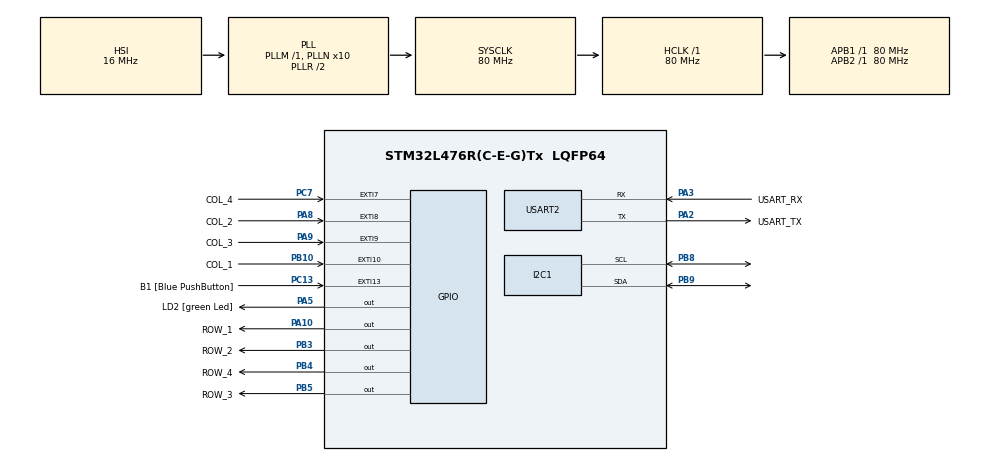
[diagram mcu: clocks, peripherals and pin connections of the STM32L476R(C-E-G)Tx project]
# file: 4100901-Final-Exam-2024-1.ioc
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I2C1.Timing=0x10909CEC
Mcu.Family=STM32L4
Mcu.Name=STM32L476R(C-E-G)Tx
Mcu.Package=LQFP64
NVIC.EXTI15_10_IRQn=true\:0\:0\:false\:false\:true\:true\:true\:true
NVIC.EXTI9_5_IRQn=true\:0\:0\:false\:false\:true\:true\:true\:true
NVIC.PriorityGroup=NVIC_PRIORITYGROUP_4
NVIC.USART2_IRQn=true\:0\:0\:false\:false\:true\:true\:true\:true
PA10.GPIO_Label=ROW_1
PA10.PinState=GPIO_PIN_SET
PA10.Signal=GPIO_Output
PA13\ (JTMS-SWDIO).GPIO_Label=TMS
PA13\ (JTMS-SWDIO).Mode=Serial_Wire
PA13\ (JTMS-SWDIO).Signal=SYS_JTMS-SWDIO
PA14\ (JTCK-SWCLK).GPIO_Label=TCK
PA14\ (JTCK-SWCLK).Mode=Serial_Wire
PA14\ (JTCK-SWCLK).Signal=SYS_JTCK-SWCLK
PA2.GPIO_Label=USART_TX
PA2.GPIO_Mode=GPIO_MODE_AF_PP
PA2.GPIO_PuPd=GPIO_NOPULL
PA2.GPIO_Speed=GPIO_SPEED_FREQ_VERY_HIGH
PA2.Mode=Asynchronous
PA2.Signal=USART2_TX
PA3.GPIO_Label=USART_RX
PA3.GPIO_Mode=GPIO_MODE_AF_PP
PA3.GPIO_PuPd=GPIO_NOPULL
PA3.GPIO_Speed=GPIO_SPEED_FREQ_VERY_HIGH
PA3.Mode=Asynchronous
PA3.Signal=USART2_RX
PA5.GPIO_Label=LD2 [green Led]
PA5.GPIO_ModeDefaultOutputPP=GPIO_MODE_OUTPUT_PP
PA5.GPIO_PuPd=GPIO_NOPULL
PA5.GPIO_Speed=GPIO_SPEED_FREQ_LOW
PA5.Signal=GPIO_Output
PA8.GPIO_Label=COL_2
PA8.GPIO_PuPd=GPIO_PULLDOWN
PA8.Signal=GPXTI8
PA9.GPIO_Label=COL_3
PA9.GPIO_PuPd=GPIO_PULLDOWN
PA9.Signal=GPXTI9
PB10.GPIO_Label=COL_1
PB10.GPIO_PuPd=GPIO_PULLDOWN
PB10.Signal=GPXTI10
PB3\ (JTDO-TRACESWO).GPIO_Label=ROW_2
PB3\ (JTDO-TRACESWO).PinState=GPIO_PIN_SET
PB3\ (JTDO-TRACESWO).Signal=GPIO_Output
PB4\ (NJTRST).GPIO_Label=ROW_4
PB4\ (NJTRST).PinState=GPIO_PIN_SET
PB4\ (NJTRST).Signal=GPIO_Output
PB5.GPIO_Label=ROW_3
PB5.PinState=GPIO_PIN_SET
PB5.Signal=GPIO_Output
PB8.Mode=I2C
PB8.Signal=I2C1_SCL
PB9.Mode=I2C
PB9.Signal=I2C1_SDA
PC13.GPIO_Label=B1 [Blue PushButton]
PC13.GPIO_ModeDefaultEXTI=GPIO_MODE_IT_FALLING
PC13.GPIO_PuPd=GPIO_NOPULL
PC13.Signal=GPXTI13
PC14-OSC32_IN\ (PC14).Mode=LSE-External-Oscillator
PC14-OSC32_IN\ (PC14).Signal=RCC_OSC32_IN
PC15-OSC32_OUT\ (PC15).Mode=LSE-External-Oscillator
PC15-OSC32_OUT\ (PC15).Signal=RCC_OSC32_OUT
PC7.GPIO_Label=COL_4
PC7.GPIO_PuPd=GPIO_PULLDOWN
PC7.Signal=GPXTI7
PH0-OSC_IN\ (PH0).Signal=RCC_OSC_IN
PH1-OSC_OUT\ (PH1).Signal=RCC_OSC_OUT
ProjectManager.HeapSize=0x200
ProjectManager.StackSize=0x400
ProjectManager.TargetToolchain=STM32CubeIDE
RCC.ADCFreq_Value=64000000
RCC.AHBFreq_Value=80000000
RCC.APB1Freq_Value=80000000
RCC.APB1TimFreq_Value=80000000
RCC.APB2Freq_Value=80000000
RCC.APB2TimFreq_Value=80000000
RCC.CortexFreq_Value=80000000
RCC.HCLKFreq_Value=80000000
RCC.HSE_VALUE=8000000
RCC.HSI_VALUE=16000000
RCC.MSI_VALUE=4000000
RCC.PLLN=10
RCC.PLLSourceVirtual=RCC_PLLSOURCE_HSI
RCC.PREFETCH_ENABLE=1
RCC.SYSCLKFreq_VALUE=80000000
RCC.SYSCLKSource=RCC_SYSCLKSOURCE_PLLCLK
RCC.USBFreq_Value=64000000
RCC.VCOOutputFreq_Value=160000000
USART2.VirtualMode-Asynchronous=VM_ASYNC
board=NUCLEO-L476RG

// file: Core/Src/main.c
/* USER CODE BEGIN Header */
/**
  **************************
  * @file           : main.c
  * @brief          : Main program body
  **************************
  * @attention
  *
  * Copyright (c) 2024 STMicroelectronics.
  * All rights reserved.
  *
  * This software is licensed under terms that can be found in the LICENSE file
  * in the root directory of this software component.
  * If no LICENSE file comes with this software, it is provided AS-IS.
  *
  **************************
  */
/* USER CODE END Header */
#include "main.h"

/* USER CODE BEGIN Includes */
#include <stdio.h>
#include <string.h>

#include "ssd1306.h"
#include "ssd1306_fonts.h"

#include "ring_buffer.h"
#include "keypad.h"
/* USER CODE END Includes */

#define KEYPAD_RB_LEN 4
#define USART2_RB_LEN 6
#define DISPLAY_BUFFER_SIZE 5  // Buffer para 4 dígitos + terminador
#define MAX_DIGITS 4           // Límite de dígitos
#define MAX_USART_DIGITS 6      // Límite de dígitos por USART2
/* USER CODE END PD */

I2C_HandleTypeDef hi2c1;
UART_HandleTypeDef huart2;

/* USER CODE BEGIN PV */
uint8_t keypad_data = 0xFF;
uint8_t keypad_buffer[KEYPAD_RB_LEN];
ring_buffer_t keypad_rb;

uint8_t usart2_data = 0xFF;
uint8_t usart2_buffer[USART2_RB_LEN];
ring_buffer_t usart2_rb;

char uart_num[7];
char display_buffer[DISPLAY_BUFFER_SIZE];  // Buffer de visualización para Keypad
char usart_display_buffer[MAX_USART_DIGITS + 1]; // Buffer de visualización para USART2
uint8_t display_index = 0;  // Índice para el buffer de teclado
uint8_t usart_display_index = 0;  // Índice para el buffer de USART2
volatile int count_uart = 0;
// Flag para operaciones
volatile uint8_t flag_sum = 0;
/* USER CODE END PV */

void SystemClock_Config(void);
static void MX_GPIO_Init(void);
static void MX_USART2_UART_Init(void);
static void MX_I2C1_Init(void);

/* USER CODE BEGIN 0 */
int _write(int file, char *ptr, int len)
{
    HAL_UART_Transmit(&huart2, (uint8_t *)ptr, len, 10);
    return len;
}

void Update_Display()
{
    ssd1306_Fill(Black);  // Limpia la pantalla

    // Mostrar los últimos dos dígitos del Keypad
    ssd1306_SetCursor(0, 0);
    ssd1306_WriteString("Keypad: ", Font_7x10, White);
    if (display_index >= 2) {
        ssd1306_WriteString(&display_buffer[display_index - 2], Font_7x10, White);
    } else {
        ssd1306_WriteString(display_buffer, Font_7x10, White);
    }

    // Mostrar los últimos dos dígitos del USART2
    ssd1306_SetCursor(0, 15);  // Ajustar la posición para no sobreponer
    ssd1306_WriteString("USART2: ", Font_7x10, White);
    if (usart_display_index >= 2) {
        ssd1306_WriteString(&usart_display_buffer[usart_display_index - 2], Font_7x10, White);
    } else {
        ssd1306_WriteString(usart_display_buffer, Font_7x10, White);
    }

    // Mostrar el resultado de la suma
    ssd1306_SetCursor(0, 30);
    ssd1306_WriteString("Suma: ", Font_7x10, White);
    ssd1306_WriteString(uart_num, Font_7x10, White);

    ssd1306_UpdateScreen();  // Actualizar la pantalla
}

void HAL_UART_RxCpltCallback(UART_HandleTypeDef *huart)
{
    if (huart->Instance == USART2) {
        if (usart2_data >= '0' && usart2_data <= '9') {
            // Almacenar el dígito recibido y actualizar la pantalla
            if (usart_display_index < MAX_USART_DIGITS) {
                usart_display_buffer[usart_display_index++] = usart2_data;
                usart_display_buffer[usart_display_index] = '\0';  // Asegurar que es una cadena válida
                Update_Display();
                printf("USART2: %s\r\n", usart_display_buffer);
            } else {
                strcpy(usart_display_buffer, "Error");
                Update_Display();
                printf("USART2 Error\r\n");
            }
        }
        HAL_UART_Receive_IT(&huart2, &usart2_data, 1);
    }
}

void HAL_GPIO_EXTI_Callback(uint16_t GPIO_Pin)
{
    if (GPIO_Pin == B1_Pin) {
        flag_sum = 1;
    }

    uint8_t key_pressed = keypad_scan(GPIO_Pin);
    if (key_pressed != 0xFF) {
        printf("Tecla presionada: %c\r\n", key_pressed);
        if (key_pressed != '#' && key_pressed != '*') {
            if (display_index < MAX_DIGITS) {
                display_buffer[display_index++] = key_pressed;
                display_buffer[display_index] = '\0';  // Asegurarse de que sea una cadena válida
                Update_Display();  // Actualizar la pantalla
                printf("Pantalla actualizada: %s\r\n", display_buffer);
            } else {
                strcpy(display_buffer, "Error");
                Update_Display();
                printf("Keypad Error\r\n");
            }
        } else if (key_pressed == '#') {
            // Reiniciar buffer USART2
            usart_display_index = 0;
            memset(usart_display_buffer, 0, sizeof(usart_display_buffer));
            Update_Display();
            printf("Buffer USART2 reiniciado\r\n");
        } else if (key_pressed == '*') {
            // Reiniciar solo el buffer del teclado
            display_index = 0;
            memset(display_buffer, 0, DISPLAY_BUFFER_SIZE);
            Update_Display();
            printf("Buffer del Keypad reiniciados\r\n");
        }
    }
}

/* USER CODE END 0 */

int main(void)
{

  /* MCU Configuration--------------------------------------------------------*/

  /* Reset of all peripherals, Initializes the Flash interface and the Systick. */
  HAL_Init();

  /* Configure the system clock */
  SystemClock_Config();

  /* Initialize all configured peripherals */
  MX_GPIO_Init();
  MX_USART2_UART_Init();
  MX_I2C1_Init();
  /* USER CODE BEGIN 2 */
    ssd1306_Init();  // Inicializar la pantalla OLED
    ssd1306_Fill(Black);
    ssd1306_SetCursor(20, 20);
    ssd1306_WriteString("Welcome!", Font_7x10, White);  // Mostrar mensaje de bienvenida
    ssd1306_UpdateScreen();

    HAL_UART_Receive_IT(&huart2, &usart2_data, 1);  // Iniciar recepción por UART

    ring_buffer_init(&usart2_rb, usart2_buffer, USART2_RB_LEN); // buffer para uart

  /* USER CODE END 2 */

  /* Infinite loop */
  /* USER CODE BEGIN WHILE */
    printf("Starting...\r\n");
    while (1)
    {
        // Bucle principal
        if (flag_sum!=0)
        {
            int sum = 0;
            // verfica si hay datos en el buffer de uart y teclado
            if (display_index > 0 && usart_display_index > 0)
            {
                // Convertir los datos a enteros
                int num1 = atoi(display_buffer);
                int num2 = atoi(usart_display_buffer);
                sum = num1 + num2;
                printf("Suma: %d\r\n", sum);
                sprintf(uart_num, "%d", sum);
                HAL_UART_Transmit(&huart2, (uint8_t *)uart_num, strlen(uart_num), 1000);
                HAL_UART_Transmit(&huart2, (uint8_t *)"\r\n", 2, 1000);
                flag_sum = 0;
                // prender el led si el resultado es par
				if (sum % 2 == 0)
				{
					HAL_GPIO_WritePin(LD2_GPIO_Port, LD2_Pin, GPIO_PIN_SET);
				}
				else
				{
					HAL_GPIO_WritePin(LD2_GPIO_Port, LD2_Pin, GPIO_PIN_RESET);
				}
            }
            else
            {
                printf("Error: No hay datos suficientes\r\n");
            }
        }
    }
    /* USER CODE END WHILE */

}

void SystemClock_Config(void)
{
  RCC_OscInitTypeDef RCC_OscInitStruct = {0};
  RCC_ClkInitTypeDef RCC_ClkInitStruct = {0};

  /** Configure the main internal regulator output voltage
  */
  if (HAL_PWREx_ControlVoltageScaling(PWR_REGULATOR_VOLTAGE_SCALE1) != HAL_OK)
  {
    Error_Handler();
  }

  /** Initializes the RCC Oscillators according to the specified parameters
  * in the RCC_OscInitTypeDef structure.
  */
  RCC_OscInitStruct.OscillatorType = RCC_OSCILLATORTYPE_HSI;
  RCC_OscInitStruct.HSIState = RCC_HSI_ON;
  RCC_OscInitStruct.HSICalibrationValue = RCC_HSICALIBRATION_DEFAULT;
  RCC_OscInitStruct.PLL.PLLState = RCC_PLL_ON;
  RCC_OscInitStruct.PLL.PLLSource = RCC_PLLSOURCE_HSI;
  RCC_OscInitStruct.PLL.PLLM = 1;
  RCC_OscInitStruct.PLL.PLLN = 10;
  RCC_OscInitStruct.PLL.PLLP = RCC_PLLP_DIV7;
  RCC_OscInitStruct.PLL.PLLQ = RCC_PLLQ_DIV2;
  RCC_OscInitStruct.PLL.PLLR = RCC_PLLR_DIV2;
  if (HAL_RCC_OscConfig(&RCC_OscInitStruct) != HAL_OK)
  {
    Error_Handler();
  }

  /** Initializes the CPU, AHB and APB buses clocks
  */
  RCC_ClkInitStruct.ClockType = RCC_CLOCKTYPE_HCLK|RCC_CLOCKTYPE_SYSCLK
                              |RCC_CLOCKTYPE_PCLK1|RCC_CLOCKTYPE_PCLK2;
  RCC_ClkInitStruct.SYSCLKSource = RCC_SYSCLKSOURCE_PLLCLK;
  RCC_ClkInitStruct.AHBCLKDivider = RCC_SYSCLK_DIV1;
  RCC_ClkInitStruct.APB1CLKDivider = RCC_HCLK_DIV1;
  RCC_ClkInitStruct.APB2CLKDivider = RCC_HCLK_DIV1;

  if (HAL_RCC_ClockConfig(&RCC_ClkInitStruct, FLASH_LATENCY_4) != HAL_OK)
  {
    Error_Handler();
  }
}

static void MX_I2C1_Init(void)
{

  hi2c1.Instance = I2C1;
  hi2c1.Init.Timing = 0x10909CEC;
  hi2c1.Init.OwnAddress1 = 0;
  hi2c1.Init.AddressingMode = I2C_ADDRESSINGMODE_7BIT;
  hi2c1.Init.DualAddressMode = I2C_DUALADDRESS_DISABLE;
  hi2c1.Init.OwnAddress2 = 0;
  hi2c1.Init.OwnAddress2Masks = I2C_OA2_NOMASK;
  hi2c1.Init.GeneralCallMode = I2C_GENERALCALL_DISABLE;
  hi2c1.Init.NoStretchMode = I2C_NOSTRETCH_DISABLE;
  if (HAL_I2C_Init(&hi2c1) != HAL_OK)
  {
    Error_Handler();
  }

  /** Configure Analogue filter
  */
  if (HAL_I2CEx_ConfigAnalogFilter(&hi2c1, I2C_ANALOGFILTER_ENABLE) != HAL_OK)
  {
    Error_Handler();
  }

  /** Configure Digital filter
  */
  if (HAL_I2CEx_ConfigDigitalFilter(&hi2c1, 0) != HAL_OK)
  {
    Error_Handler();
  }

}

static void MX_USART2_UART_Init(void)
{

  huart2.Instance = USART2;
  huart2.Init.BaudRate = 115200;
  huart2.Init.WordLength = UART_WORDLENGTH_8B;
  huart2.Init.StopBits = UART_STOPBITS_1;
  huart2.Init.Parity = UART_PARITY_NONE;
  huart2.Init.Mode = UART_MODE_TX_RX;
  huart2.Init.HwFlowCtl = UART_HWCONTROL_NONE;
  huart2.Init.OverSampling = UART_OVERSAMPLING_16;
  huart2.Init.OneBitSampling = UART_ONE_BIT_SAMPLE_DISABLE;
  huart2.AdvancedInit.AdvFeatureInit = UART_ADVFEATURE_NO_INIT;
  if (HAL_UART_Init(&huart2) != HAL_OK)
  {
    Error_Handler();
  }

}

static void MX_GPIO_Init(void)
{
  GPIO_InitTypeDef GPIO_InitStruct = {0};

  /* GPIO Ports Clock Enable */
  __HAL_RCC_GPIOC_CLK_ENABLE();
  __HAL_RCC_GPIOH_CLK_ENABLE();
  __HAL_RCC_GPIOA_CLK_ENABLE();
  __HAL_RCC_GPIOB_CLK_ENABLE();

  /*Configure GPIO pin Output Level */
  HAL_GPIO_WritePin(LD2_GPIO_Port, LD2_Pin, GPIO_PIN_RESET);

  /*Configure GPIO pin Output Level */
  HAL_GPIO_WritePin(ROW_1_GPIO_Port, ROW_1_Pin, GPIO_PIN_SET);

  /*Configure GPIO pin Output Level */
  HAL_GPIO_WritePin(GPIOB, ROW_2_Pin|ROW_4_Pin|ROW_3_Pin, GPIO_PIN_SET);

  /*Configure GPIO pin : B1_Pin */
  GPIO_InitStruct.Pin = B1_Pin;
  GPIO_InitStruct.Mode = GPIO_MODE_IT_FALLING;
  GPIO_InitStruct.Pull = GPIO_NOPULL;
  HAL_GPIO_Init(B1_GPIO_Port, &GPIO_InitStruct);

  /*Configure GPIO pins : LD2_Pin ROW_1_Pin */
  GPIO_InitStruct.Pin = LD2_Pin|ROW_1_Pin;
  GPIO_InitStruct.Mode = GPIO_MODE_OUTPUT_PP;
  GPIO_InitStruct.Pull = GPIO_NOPULL;
  GPIO_InitStruct.Speed = GPIO_SPEED_FREQ_LOW;
  HAL_GPIO_Init(GPIOA, &GPIO_InitStruct);

  /*Configure GPIO pin : COL_1_Pin */
  GPIO_InitStruct.Pin = COL_1_Pin;
  GPIO_InitStruct.Mode = GPIO_MODE_IT_RISING;
  GPIO_InitStruct.Pull = GPIO_PULLDOWN;
  HAL_GPIO_Init(COL_1_GPIO_Port, &GPIO_InitStruct);

  /*Configure GPIO pin : COL_4_Pin */
  GPIO_InitStruct.Pin = COL_4_Pin;
  GPIO_InitStruct.Mode = GPIO_MODE_IT_RISING;
  GPIO_InitStruct.Pull = GPIO_PULLDOWN;
  HAL_GPIO_Init(COL_4_GPIO_Port, &GPIO_InitStruct);

  /*Configure GPIO pins : COL_2_Pin COL_3_Pin */
  GPIO_InitStruct.Pin = COL_2_Pin|COL_3_Pin;
  GPIO_InitStruct.Mode = GPIO_MODE_IT_RISING;
  GPIO_InitStruct.Pull = GPIO_PULLDOWN;
  HAL_GPIO_Init(GPIOA, &GPIO_InitStruct);

  /*Configure GPIO pins : ROW_2_Pin ROW_4_Pin ROW_3_Pin */
  GPIO_InitStruct.Pin = ROW_2_Pin|ROW_4_Pin|ROW_3_Pin;
  GPIO_InitStruct.Mode = GPIO_MODE_OUTPUT_PP;
  GPIO_InitStruct.Pull = GPIO_NOPULL;
  GPIO_InitStruct.Speed = GPIO_SPEED_FREQ_LOW;
  HAL_GPIO_Init(GPIOB, &GPIO_InitStruct);

  /* EXTI interrupt init*/
  HAL_NVIC_SetPriority(EXTI9_5_IRQn, 0, 0);
  HAL_NVIC_EnableIRQ(EXTI9_5_IRQn);

  HAL_NVIC_SetPriority(EXTI15_10_IRQn, 0, 0);
  HAL_NVIC_EnableIRQ(EXTI15_10_IRQn);

}

void Error_Handler(void)
{
  __disable_irq();
  while (1)
  {
  }
}
